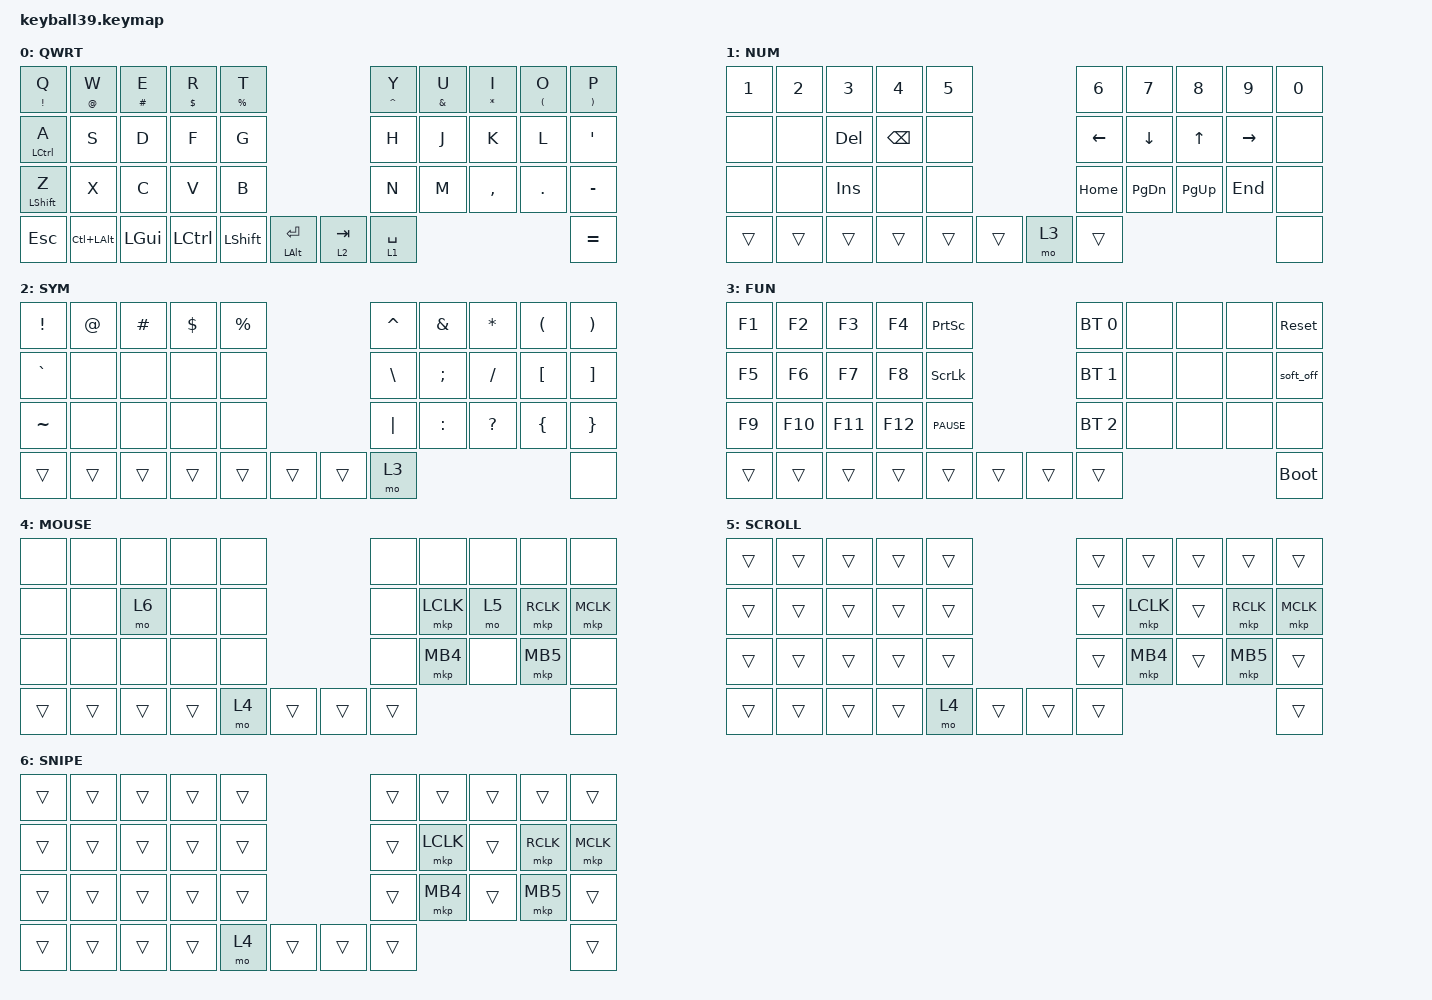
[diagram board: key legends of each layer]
#define DEFAULT 0
#define NUM     1
#define SYM     2
#define FUN     3
#define MOUSE   4
#define SCROLL  5
#define SNIPE   6

#include <behaviors/mouse_keys.dtsi>
#include <dt-bindings/zmk/mouse.h>
#include <behaviors.dtsi>
#include <dt-bindings/zmk/bt.h>
#include <dt-bindings/zmk/keys.h>
#include <dt-bindings/zmk/pointing.h>

&lt {
    tapping-term-ms = <240>;
    flavor = "hold-preferred";
    quick-tap-ms = <150>;
};

&mt {
    tapping-term-ms = <200>;
    flavor = "tap-preferred";
    quick-tap-ms = <150>;
};

&caps_word { continue-list = <UNDERSCORE MINUS>; };

/ {
    // custom shift using mod-morph 

    behaviors {
        cmqus: comma_question {
            compatible = "zmk,behavior-mod-morph";
            label = "COMMA_QUESTION";
            #binding-cells = <0>;
            bindings = <&kp COMMA>, <&kp QUESTION>;

            mods = <(MOD_LSFT|MOD_RSFT)>;
        };

        dtsmi: dot_semi {
            compatible = "zmk,behavior-mod-morph";
            label = "DOT_SEMI";
            #binding-cells = <0>;
            bindings = <&kp DOT>, <&kp SEMI>;

            mods = <(MOD_LSFT|MOD_RSFT)>;
        };
    };

    combos {
        compatible = "zmk,combos";

        L1 {
            bindings = <&kp LANG1>;
            key-positions = <16 17>;
        };

        L2 {
            bindings = <&kp LANG2>;
            key-positions = <12 13>;
        };

        C_ENTER {
            bindings = <&kp ENTER>;
            key-positions = <17 18>;
        };
    };

    keymap {
        compatible = "zmk,keymap";

        default_layer {
            label = "QWRT";
            bindings = <
&mt EXCL Q          &mt AT W          &mt HASH E    &mt DOLLAR R      &mt PERCENT T                                  &mt CARET Y  &mt AMPERSAND U  &mt ASTERISK I  &mt LEFT_PARENTHESIS O  &mt RIGHT_PARENTHESIS P
&mt LEFT_CONTROL A  &kp S             &kp D         &kp F             &kp G                                          &kp H        &kp J            &kp K           &kp L                   &kp SINGLE_QUOTE
&mt LEFT_SHIFT Z    &kp X             &kp C         &kp V             &kp B                                          &kp N        &kp M            &kp COMMA       &kp DOT                 &kp MINUS
&kp ESCAPE          &kp LC(LEFT_ALT)  &kp LEFT_GUI  &kp LEFT_CONTROL  &kp LEFT_SHIFT  &mt LEFT_ALT ENTER  &lt 2 TAB  &lt 1 SPACE                                                           &kp EQUAL
            >;
        };

        number_layer {
            label = "NUM";
            bindings = <
&kp NUMBER_1  &kp NUMBER_2  &kp NUMBER_3  &kp NUMBER_4   &kp NUMBER_5                 &kp NUMBER_6    &kp NUMBER_7    &kp NUMBER_8  &kp NUMBER_9     &kp NUMBER_0
&none         &none         &kp DELETE    &kp BACKSPACE  &none                        &kp LEFT_ARROW  &kp DOWN_ARROW  &kp UP_ARROW  &kp RIGHT_ARROW  &none
&none         &none         &kp INSERT    &none          &none                        &kp HOME        &kp PAGE_DOWN   &kp PAGE_UP   &kp END          &none
&trans        &trans        &trans        &trans         &trans        &trans  &mo 3  &trans                                                         &none
            >;
        };

        symbol_layer {
            label = "SYM";
            bindings = <
&kp EXCLAMATION  &kp AT_SIGN  &kp HASH  &kp DOLLAR  &kp PERCENT                  &kp CARET      &kp AMPERSAND  &kp ASTERISK  &kp LEFT_PARENTHESIS  &kp RIGHT_PARENTHESIS
&kp GRAVE        &none        &none     &none       &none                        &kp BACKSLASH  &kp SEMI       &kp SLASH     &kp LEFT_BRACKET      &kp RIGHT_BRACKET
&kp TILDE        &none        &none     &none       &none                        &kp PIPE       &kp COLON      &kp QUESTION  &kp LEFT_BRACE        &kp RIGHT_BRACE
&trans           &trans       &trans    &trans      &trans       &trans  &trans  &mo 3                                                             &none
            >;
        };

        function_layer {
            label = "FUN";
            bindings = <
&kp F1  &kp F2   &kp F3   &kp F4   &kp PRINTSCREEN                  &bt BT_SEL 0  &none  &none  &none  &sys_reset
&kp F5  &kp F6   &kp F7   &kp F8   &kp SCROLLLOCK                   &bt BT_SEL 1  &none  &none  &none  &soft_off
&kp F9  &kp F10  &kp F11  &kp F12  &kp C_PAUSE                      &bt BT_SEL 2  &none  &none  &none  &none
&trans  &trans   &trans   &trans   &trans           &trans  &trans  &trans                             &bootloader
            >;
        };

        mouse_layer {
            label = "MOUSE";
            bindings = <
&none   &none   &none   &none   &none                  &none   &none      &none  &none      &none
&none   &none   &mo 6   &none   &none                  &none   &mkp LCLK  &mo 5  &mkp RCLK  &mkp MCLK
&none   &none   &none   &none   &none                  &none   &mkp MB4   &none  &mkp MB5   &none
&trans  &trans  &trans  &trans  &mo 4  &trans  &trans  &trans                               &none
            >;
        };

        scroll_layer {
            label = "SCROLL";
            bindings = <
&trans  &trans  &trans  &trans  &trans                  &trans  &trans     &trans  &trans     &trans
&trans  &trans  &trans  &trans  &trans                  &trans  &mkp LCLK  &trans  &mkp RCLK  &mkp MCLK
&trans  &trans  &trans  &trans  &trans                  &trans  &mkp MB4   &trans  &mkp MB5   &trans
&trans  &trans  &trans  &trans  &mo 4   &trans  &trans  &trans                                &trans
            >;
        };

        snipe_layer {
            label = "SNIPE";
            bindings = <
&trans  &trans  &trans  &trans  &trans                  &trans  &trans     &trans  &trans     &trans
&trans  &trans  &trans  &trans  &trans                  &trans  &mkp LCLK  &trans  &mkp RCLK  &mkp MCLK
&trans  &trans  &trans  &trans  &trans                  &trans  &mkp MB4   &trans  &mkp MB5   &trans
&trans  &trans  &trans  &trans  &mo 4   &trans  &trans  &trans                                &trans
            >;
        };
    };
};
